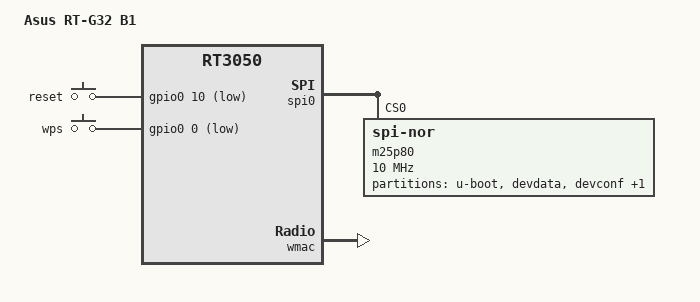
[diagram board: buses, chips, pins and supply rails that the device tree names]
/dts-v1/;

#include "rt3050.dtsi"

#include <dt-bindings/gpio/gpio.h>
#include <dt-bindings/input/input.h>

/ {
	compatible = "asus,rt-g32-b1", "ralink,rt3050-soc";
	model = "Asus RT-G32 B1";

	gpio-keys-polled {
		compatible = "gpio-keys-polled";
		poll-interval = <20>;

		reset {
			label = "reset";
			gpios = <&gpio0 10 GPIO_ACTIVE_LOW>;
			linux,code = <KEY_RESTART>;
		};

		wps {
			label = "wps";
			gpios = <&gpio0 0 GPIO_ACTIVE_LOW>;
			linux,code = <KEY_WPS_BUTTON>;
		};
	};
};

&spi0 {
	status = "okay";

	m25p80@0 {
		compatible = "jedec,spi-nor";
		reg = <0>;
		spi-max-frequency = <10000000>;

		partitions {
			compatible = "fixed-partitions";
			#address-cells = <1>;
			#size-cells = <1>;

			partition@0 {
				label = "u-boot";
				reg = <0x0 0x30000>;
				read-only;
			};

			partition@30000 {
				label = "devdata";
				reg = <0x30000 0x10000>;
				read-only;
			};

			devconf: partition@40000 {
				label = "devconf";
				reg = <0x40000 0x10000>;
				read-only;
			};

			partition@50000 {
				label = "firmware";
				reg = <0x50000 0x3b0000>;
			};
		};
	};
};

&pinctrl {
	state_default: pinctrl0 {
		gpio {
			ralink,group = "i2c", "jtag", "rgmii", "mdio", "uartf";
			ralink,function = "gpio";
		};
	};
};

&ethernet {
	mtd-mac-address = <&devconf 0x4>;
};

&esw {
	mediatek,portmap = <0x2f>;
};

&wmac {
	ralink,mtd-eeprom = <&devconf 0>;
};
